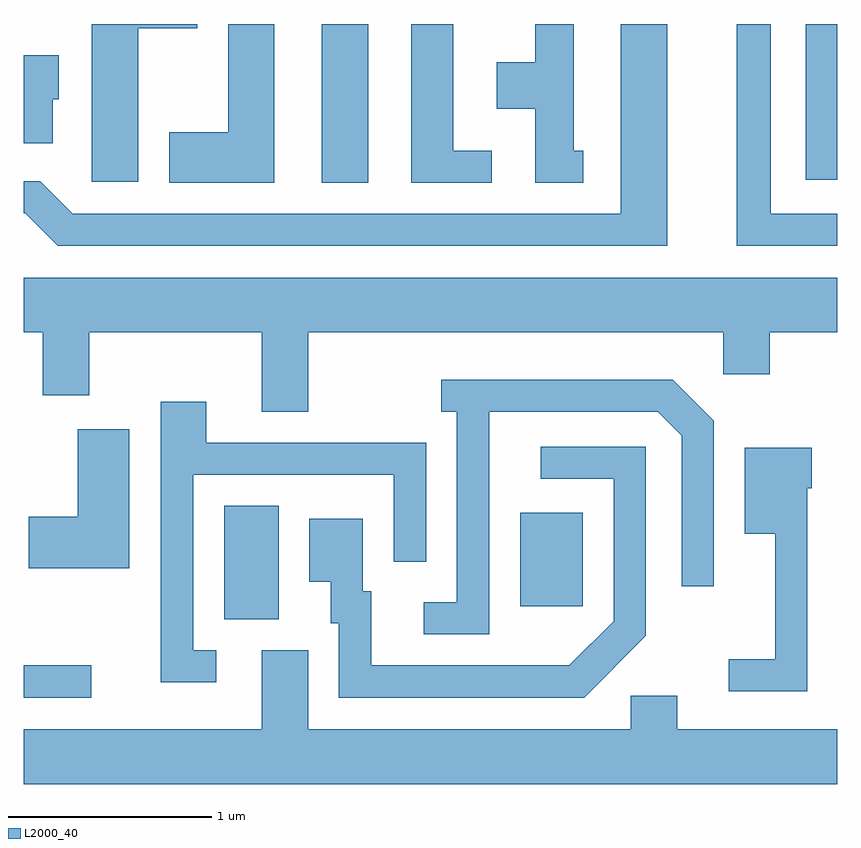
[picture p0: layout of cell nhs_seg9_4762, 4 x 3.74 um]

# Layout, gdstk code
import gdstk
lib = gdstk.Library(unit=1e-6, precision=1e-09)
def R(c, l, rs):  # rectangles x0, y0, x1, y1
    for r in rs: c.add(gdstk.rectangle(r[:2], r[2:], *l))
def P(c, l, *ps):  # polygons
    for p in ps: c.add(gdstk.Polygon(p, *l))
L2000_40 = (2000, 40)

nhs_seg9_4762 = lib.new_cell('nhs_seg9_4762')
R(nhs_seg9_4762, L2000_40, [(325.611,2001.121,325.943,2001.279), (326.596,2001.506,326.864,2002.064), (328.051,2001.571,328.359,2002.029), (327.076,2003.651,327.304,2004.432), (329.456,2003.666,329.611,2004.432)])
P(nhs_seg9_4762, L2000_40, [(328.774,2004.432),(328.546,2004.432),(328.546,2003.499),(325.852,2003.499),(325.692,2003.659),(325.611,2003.659),(325.611,2003.501),(325.619,2003.501),(325.779,2003.341),(328.774,2003.341)],
  [(328.363,2003.809),(328.314,2003.809),(328.314,2004.432),(328.126,2004.432),(328.126,2004.244),(327.936,2004.244),(327.936,2004.016),(328.126,2004.016),(328.126,2003.651),(328.363,2003.651)],
  [(329.611,2003.499),(329.284,2003.499),(329.284,2004.432),(329.116,2004.432),(329.116,2003.341),(329.611,2003.341)],
  [(326.174,2004.411),(326.464,2004.411),(326.464,2004.432),(325.696,2004.432),(325.696,2004.431),(325.946,2004.431),(325.946,2003.656),(326.174,2003.656)],
  [(326.844,2004.432),(326.616,2004.432),(326.616,2003.899),(326.326,2003.899),(326.326,2003.651),(326.844,2003.651)],
  [(327.913,2003.809),(327.724,2003.809),(327.724,2004.432),(327.516,2004.432),(327.516,2003.651),(327.913,2003.651)],
  [(325.754,2004.061),(325.784,2004.061),(325.784,2004.279),(325.611,2004.279),(325.611,2003.846),(325.754,2003.846)],
  [(327.009,2002.916),(329.051,2002.916),(329.051,2002.711),(329.279,2002.711),(329.279,2002.916),(329.611,2002.916),(329.611,2003.184),(325.611,2003.184),(325.611,2002.916),(325.706,2002.916),(325.706,2002.606),(325.934,2002.606),(325.934,2002.916),(326.781,2002.916),(326.781,2002.526),(327.009,2002.526)],
  [(327.899,2002.526),(328.729,2002.526),(328.846,2002.409),(328.846,2001.668),(329.004,2001.668),(329.004,2002.482),(328.802,2002.684),(327.663,2002.684),(327.663,2002.526),(327.741,2002.526),(327.741,2001.589),(327.578,2001.589),(327.578,2001.431),(327.899,2001.431)],
  [(326.558,2001.354),(326.444,2001.354),(326.444,2002.216),(327.431,2002.216),(327.431,2001.788),(327.589,2001.788),(327.589,2002.374),(326.509,2002.374),(326.509,2002.574),(326.286,2002.574),(326.286,2001.196),(326.558,2001.196)],
  [(326.129,2002.439),(325.876,2002.439),(325.876,2002.009),(325.636,2002.009),(325.636,2001.756),(326.129,2001.756)],
  [(328.669,2001.424),(328.669,2002.354),(328.153,2002.354),(328.153,2002.196),(328.511,2002.196),(328.511,2001.497),(328.294,2001.279),(327.319,2001.279),(327.319,2001.644),(327.279,2001.644),(327.279,2001.999),(327.016,2001.999),(327.016,2001.691),(327.121,2001.691),(327.121,2001.486),(327.161,2001.486),(327.161,2001.121),(328.367,2001.121)],
  [(329.464,2002.151),(329.484,2002.151),(329.484,2002.349),(329.156,2002.349),(329.156,2001.926),(329.306,2001.926),(329.306,2001.309),(329.078,2001.309),(329.078,2001.151),(329.464,2001.151)],
  [(329.611,2000.964),(328.824,2000.964),(328.824,2001.129),(328.596,2001.129),(328.596,2000.964),(327.009,2000.964),(327.009,2001.354),(326.781,2001.354),(326.781,2000.964),(325.611,2000.964),(325.611,2000.696),(329.611,2000.696)])

lib.write_gds('nhs_seg9_4762.gds')
